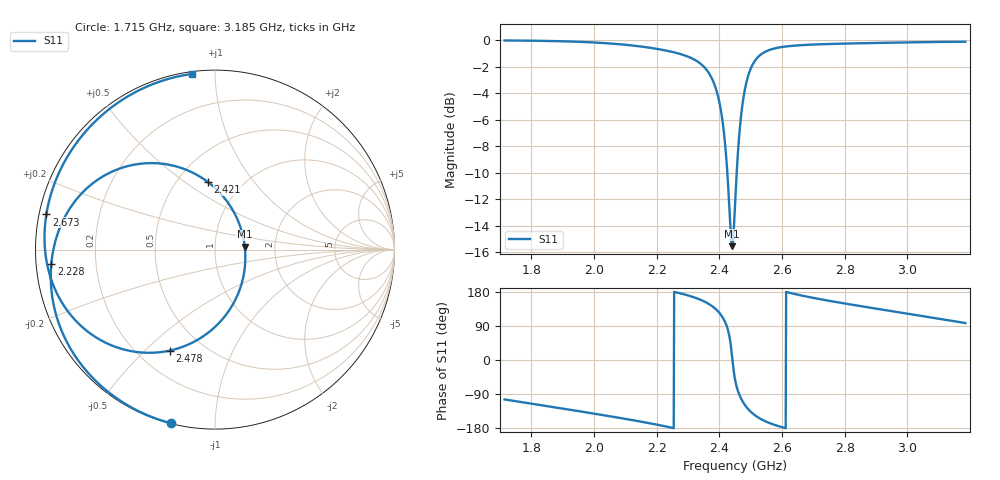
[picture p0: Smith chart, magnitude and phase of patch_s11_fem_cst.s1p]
! TOUCHSTONE file generated by CST MICROWAVE STUDIO
! Date and time: Wed Aug  5 19:34:07 2026
! Project name: patch.cst
! Parameters = {c0=299.792; feed_line_length=16.8; feed_line_width=2.8; frequency_centre=2.45; groundplane_feed_extension=6.4; groundplane_length=84; groundplane_width=74.4; matching_line_length=17.6; matching_line_width=0.4; metal_thickness=0.4; patch_length=28; patch_width=37.2; relative_permittiv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
! Header version: 2024
! Port assignment regex: !\s*Touchstone port\s*([0-9]+)\s*=\s*(CST MWS port|CST DES external port|CST DES block port)\s*(.+)\s* \(\"(.*)\"\)(\s*mode\s*([0-9]+))?.*
! Touchstone port assignment:
! Touchstone port 1 = CST MWS port 1 ("")
# GHz S MA R 50
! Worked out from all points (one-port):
!   1003 points, 1.715 GHz to 3.185 GHz, reference 50 ohm
!   lowest |S11| = -15.6 dB at 2.441 GHz (marker M1), VSWR 1.40, Z = 69.8 + j2.35 ohm
!   |S11| at or under -10 dB: 2.426 GHz to 2.455 GHz (29.87 MHz wide, 1.22 % of centre)
!   S11 on the Smith chart (normalised r, x): 1.715 GHz: 0.00, -0.78; 2.228 GHz: 0.04, -0.04; 2.421 GHz: 0.70, +0.62; 2.478 GHz: 0.33, -0.60; 2.673 GHz: 0.02, +0.10; 3.185 GHz: 0.01, +0.88
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1.715  0.998 -104.1
1.80467  0.9958 -115.7
1.89875  0.9909 -128.0
2.0825  0.9656 -152.9
2.22803  0.9151 -175.1
2.26625  0.8934 177.8
2.32211  0.8425 164.6
2.3618  0.7663 150.1
2.38091  0.6974 139.7
2.39855  0.5949 125.9
2.41031  0.4939 112.7
2.4206  0.3789 96.0
2.4353  0.1973 46.8
2.44118  0.1667 5.6
2.44559  0.1879 -26.8
2.45  0.2382 -51.0
2.4647  0.4551 -93.4
2.47793  0.6169 -114.2
2.48969  0.7183 -127.4
2.50439  0.8014 -139.8
2.53379  0.8856 -156.4
2.57495  0.9304 -170.9
2.63375  0.9529 175.5
2.67344  0.9599 168.2
2.8175  0.9722 146.7
3.00125  0.9814 122.3
3.0968  0.9851 109.6
3.185  0.9869 97.6
